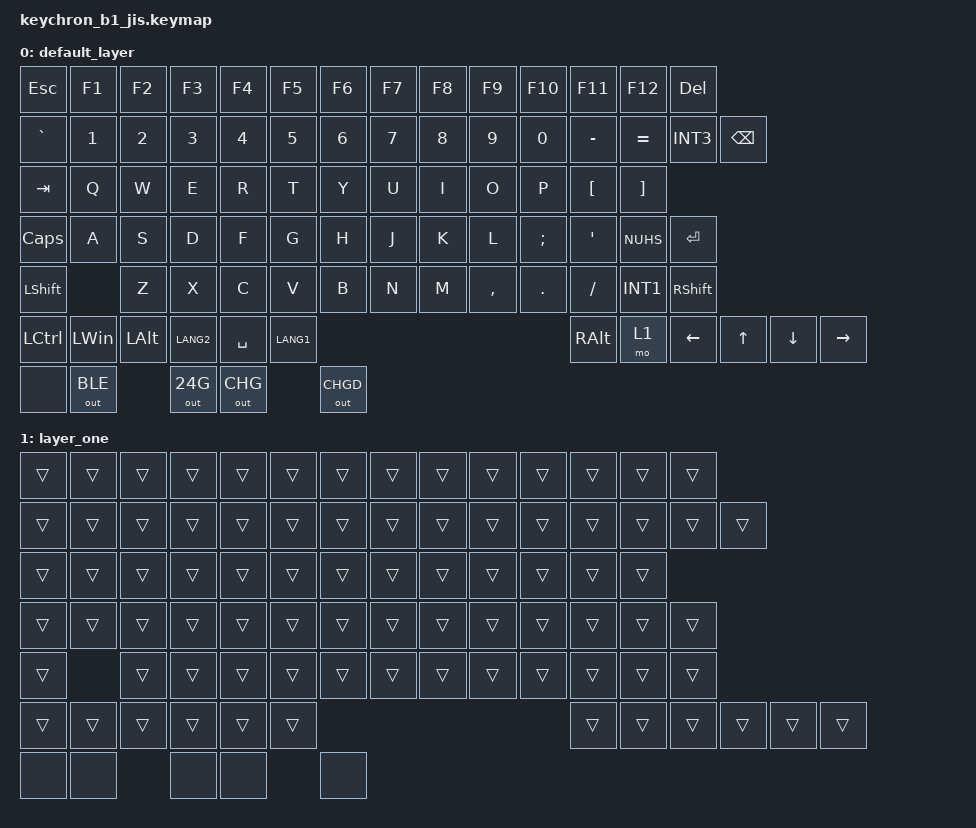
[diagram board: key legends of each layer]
/*
 * Copyright (c) 2023 The ZMK Contributors
 *
 * SPDX-License-Identifier: MIT
 *
 * MINIMAL TEST KEYMAP -- all &kp bindings, no HRM / mt_tap / combo / lm.
 * If A still gives 'r' here, the bug is below the keymap layer (kscan
 * / matrix-transform / hardware). If A gives 'a', issue is hold-tap.
 */

#include <behaviors.dtsi>
#include <dt-bindings/zmk/keys.h>
#include <dt-bindings/zmk/rgb.h>
#include <dt-bindings/zmk/bt.h>
#include <dt-bindings/zmk/outputs.h>

/ {
    keymap {
        compatible = "zmk,keymap";

        default_layer {
            bindings = <
            &kp ESC      &kp F1   &kp F2   &kp F3   &kp F4   &kp F5   &kp F6   &kp F7   &kp F8   &kp F9   &kp F10  &kp F11  &kp F12  &kp DEL
            &kp GRAVE    &kp N1   &kp N2   &kp N3   &kp N4   &kp N5   &kp N6   &kp N7   &kp N8   &kp N9   &kp N0   &kp MINUS  &kp EQUAL  &kp INT3   &kp BSPC
            &kp TAB      &kp Q    &kp W    &kp E    &kp R    &kp T    &kp Y    &kp U    &kp I    &kp O    &kp P    &kp LBKT &kp RBKT
            &kp CLCK     &kp A    &kp S    &kp D    &kp F    &kp G    &kp H    &kp J    &kp K    &kp L    &kp SEMI &kp SQT  &kp NUHS  &kp RET
            &kp LSHFT             &kp Z    &kp X    &kp C    &kp V    &kp B    &kp N    &kp M    &kp COMMA &kp DOT &kp FSLH &kp INT1  &kp RSHFT
            &kp LCTRL    &kp LWIN &kp LALT &kp LANG2 &kp SPACE                          &kp LANG1                  &kp RALT  &mo 1     &kp LEFT &kp UP &kp DOWN &kp RIGHT
            &none        &out OUT_BLE  &out OUT_24G  &out OUT_CHG  &out OUT_CHGD
            >;
        };

        layer_one {
            bindings = <
            &trans  &trans   &trans   &trans   &trans   &trans   &trans   &trans   &trans   &trans   &trans   &trans   &trans   &trans
            &trans  &trans   &trans   &trans   &trans   &trans   &trans   &trans   &trans   &trans   &trans   &trans   &trans   &trans   &trans
            &trans  &trans   &trans   &trans   &trans   &trans   &trans   &trans   &trans   &trans   &trans   &trans   &trans
            &trans  &trans   &trans   &trans   &trans   &trans   &trans   &trans   &trans   &trans   &trans   &trans   &trans   &trans
            &trans           &trans   &trans   &trans   &trans   &trans   &trans   &trans   &trans   &trans   &trans   &trans   &trans
            &trans  &trans   &trans   &trans   &trans                              &trans                          &trans   &trans   &trans   &trans   &trans   &trans
            &none   &none    &none    &none    &none
            >;
        };
    };
};
